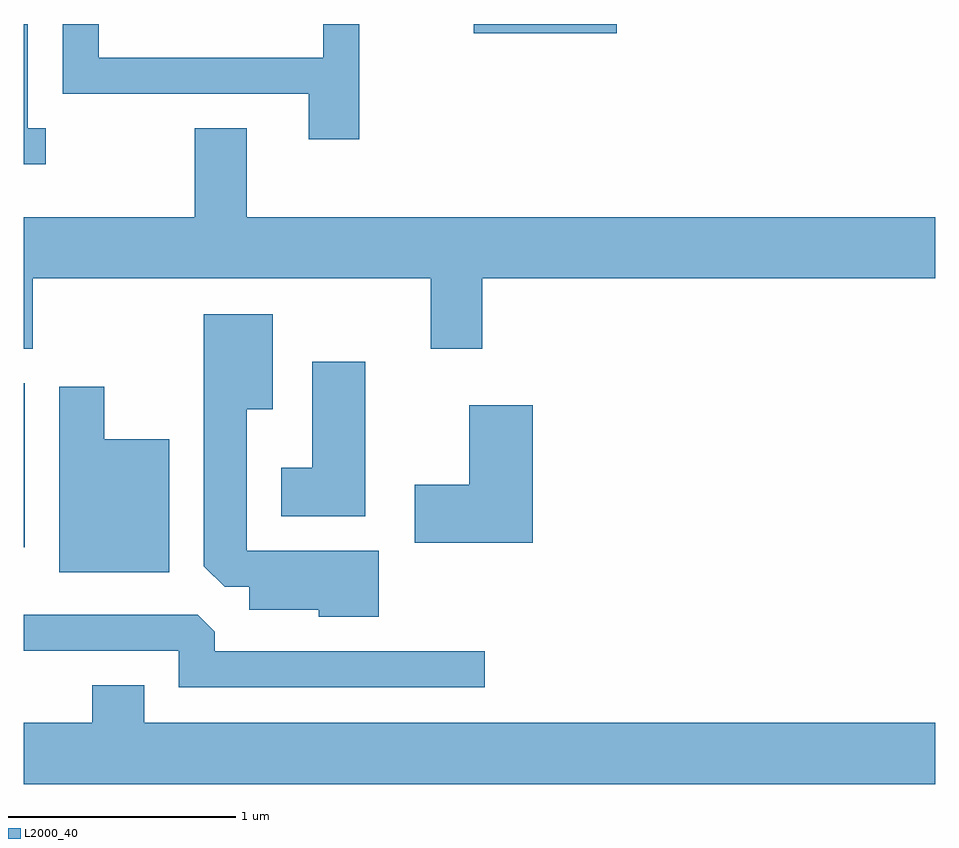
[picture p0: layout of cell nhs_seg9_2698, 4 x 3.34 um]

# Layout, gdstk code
import gdstk
lib = gdstk.Library(unit=1e-6, precision=1e-09)
def R(c, l, rs):  # rectangles x0, y0, x1, y1
    for r in rs: c.add(gdstk.rectangle(r[:2], r[2:], *l))
def P(c, l, *ps):  # polygons
    for p in ps: c.add(gdstk.Polygon(p, *l))
L2000_40 = (2000, 40)

nhs_seg9_2698 = lib.new_cell('nhs_seg9_2698')
R(nhs_seg9_2698, L2000_40, [(263.611,2046.136,263.614,2046.854), (265.586,2048.391,266.214,2048.432)])
P(nhs_seg9_2698, L2000_40, [(263.708,2047.974),(263.629,2047.974),(263.629,2048.432),(263.611,2048.432),(263.611,2047.816),(263.708,2047.816)],
  [(265.084,2048.432),(264.926,2048.432),(264.926,2048.284),(263.939,2048.284),(263.939,2048.432),(263.781,2048.432),(263.781,2048.126),(264.861,2048.126),(264.861,2047.926),(265.084,2047.926)],
  [(263.649,2047.316),(265.396,2047.316),(265.396,2047.006),(265.624,2047.006),(265.624,2047.316),(267.611,2047.316),(267.611,2047.584),(264.589,2047.584),(264.589,2047.974),(264.361,2047.974),(264.361,2047.584),(263.611,2047.584),(263.611,2047.006),(263.649,2047.006)],
  [(265.169,2046.119),(264.589,2046.119),(264.589,2046.741),(264.704,2046.741),(264.704,2047.159),(264.401,2047.159),(264.401,2046.052),(264.492,2045.961),(264.601,2045.961),(264.601,2045.861),(264.906,2045.861),(264.906,2045.831),(265.169,2045.831)],
  [(265.109,2046.949),(264.876,2046.949),(264.876,2046.484),(264.741,2046.484),(264.741,2046.271),(265.109,2046.271)],
  [(264.249,2046.609),(263.964,2046.609),(263.964,2046.839),(263.766,2046.839),(263.766,2046.026),(264.249,2046.026)],
  [(265.844,2046.759),(265.566,2046.759),(265.566,2046.409),(265.326,2046.409),(265.326,2046.156),(265.844,2046.156)],
  [(265.633,2045.679),(264.449,2045.679),(264.449,2045.764),(264.374,2045.839),(263.611,2045.839),(263.611,2045.681),(264.291,2045.681),(264.291,2045.521),(265.633,2045.521)],
  [(267.611,2045.364),(264.139,2045.364),(264.139,2045.529),(263.911,2045.529),(263.911,2045.364),(263.611,2045.364),(263.611,2045.096),(267.611,2045.096)])

lib.write_gds('nhs_seg9_2698.gds')
